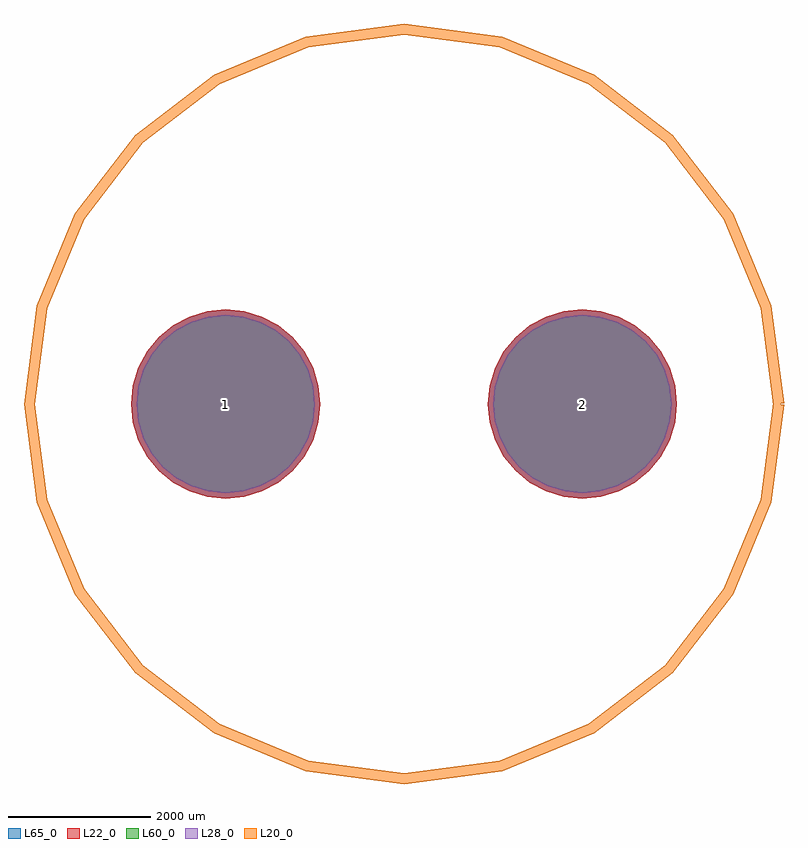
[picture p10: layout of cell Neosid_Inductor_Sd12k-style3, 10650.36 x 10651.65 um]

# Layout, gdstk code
import gdstk
lib = gdstk.Library(unit=1e-6, precision=1e-09)
def P(c, l, *ps):  # polygons
    for p in ps: c.add(gdstk.Polygon(p, *l))
L20_0 = (20, 0)
L22_0 = (22, 0)
L28_0 = (28, 0)
L60_0 = (60, 0)
L65_0 = (65, 0)

neosid_inductor_sd12k_st = lib.new_cell('Neosid_Inductor_Sd12k-style3')
P(neosid_inductor_sd12k_st, L22_0, [(-1174.68,0),(-1200.133,258.432),(-1275.515,506.933),(-1397.929,735.953),(-1562.67,936.69),(-1763.407,1101.431),(-1992.427,1223.845),(-2240.928,1299.227),(-2499.36,1324.68),(-2757.792,1299.227),(-3006.293,1223.845),(-3235.313,1101.431),(-3436.05,936.69),(-3600.791,735.953),(-3723.205,506.933),(-3798.587,258.432),(-3824.04,0),(-3798.587,-258.432),(-3723.205,-506.933),(-3600.791,-735.953),(-3436.05,-936.69),(-3235.313,-1101.431),(-3006.293,-1223.845),(-2757.792,-1299.227),(-2499.36,-1324.68),(-2240.928,-1299.227),(-1992.427,-1223.845),(-1763.407,-1101.431),(-1562.67,-936.69),(-1397.929,-735.953),(-1275.515,-506.933),(-1200.133,-258.432)],
  [(3824.04,0),(3798.587,258.432),(3723.205,506.933),(3600.791,735.953),(3436.05,936.69),(3235.313,1101.431),(3006.293,1223.845),(2757.792,1299.227),(2499.36,1324.68),(2240.928,1299.227),(1992.427,1223.845),(1763.407,1101.431),(1562.67,936.69),(1397.929,735.953),(1275.515,506.933),(1200.133,258.432),(1174.68,0),(1200.133,-258.432),(1275.515,-506.933),(1397.929,-735.953),(1562.67,-936.69),(1763.407,-1101.431),(1992.427,-1223.845),(2240.928,-1299.227),(2499.36,-1324.68),(2757.792,-1299.227),(3006.293,-1223.845),(3235.313,-1101.431),(3436.05,-936.69),(3600.791,-735.953),(3723.205,-506.933),(3798.587,-258.432)])
P(neosid_inductor_sd12k_st, L28_0, [(-1249.68,0),(-1273.692,243.8),(-1344.806,478.232),(-1460.289,694.285),(-1615.703,883.657),(-1805.075,1039.071),(-2021.128,1154.554),(-2255.56,1225.668),(-2499.36,1249.68),(-2743.16,1225.668),(-2977.592,1154.554),(-3193.645,1039.071),(-3383.017,883.657),(-3538.431,694.285),(-3653.914,478.232),(-3725.028,243.8),(-3749.04,0),(-3725.028,-243.8),(-3653.914,-478.232),(-3538.431,-694.285),(-3383.017,-883.657),(-3193.645,-1039.071),(-2977.592,-1154.554),(-2743.16,-1225.668),(-2499.36,-1249.68),(-2255.56,-1225.668),(-2021.128,-1154.554),(-1805.075,-1039.071),(-1615.703,-883.657),(-1460.289,-694.285),(-1344.806,-478.232),(-1273.692,-243.8)],
  [(3749.04,0),(3725.028,243.8),(3653.914,478.232),(3538.431,694.285),(3383.017,883.657),(3193.645,1039.071),(2977.592,1154.554),(2743.16,1225.668),(2499.36,1249.68),(2255.56,1225.668),(2021.128,1154.554),(1805.075,1039.071),(1615.703,883.657),(1460.289,694.285),(1344.806,478.232),(1273.692,243.8),(1249.68,0),(1273.692,-243.8),(1344.806,-478.232),(1460.289,-694.285),(1615.703,-883.657),(1805.075,-1039.071),(2021.128,-1154.554),(2255.56,-1225.668),(2499.36,-1249.68),(2743.16,-1225.668),(2977.592,-1154.554),(3193.645,-1039.071),(3383.017,-883.657),(3538.431,-694.285),(3653.914,-478.232),(3725.028,-243.8)])
P(neosid_inductor_sd12k_st, L60_0, [(-1249.68,0),(-1273.692,243.8),(-1344.806,478.232),(-1460.289,694.285),(-1615.703,883.657),(-1805.075,1039.071),(-2021.128,1154.554),(-2255.56,1225.668),(-2499.36,1249.68),(-2743.16,1225.668),(-2977.592,1154.554),(-3193.645,1039.071),(-3383.017,883.657),(-3538.431,694.285),(-3653.914,478.232),(-3725.028,243.8),(-3749.04,0),(-3725.028,-243.8),(-3653.914,-478.232),(-3538.431,-694.285),(-3383.017,-883.657),(-3193.645,-1039.071),(-2977.592,-1154.554),(-2743.16,-1225.668),(-2499.36,-1249.68),(-2255.56,-1225.668),(-2021.128,-1154.554),(-1805.075,-1039.071),(-1615.703,-883.657),(-1460.289,-694.285),(-1344.806,-478.232),(-1273.692,-243.8)],
  [(3749.04,0),(3725.028,243.8),(3653.914,478.232),(3538.431,694.285),(3383.017,883.657),(3193.645,1039.071),(2977.592,1154.554),(2743.16,1225.668),(2499.36,1249.68),(2255.56,1225.668),(2021.128,1154.554),(1805.075,1039.071),(1615.703,883.657),(1460.289,694.285),(1344.806,478.232),(1273.692,243.8),(1249.68,0),(1273.692,-243.8),(1344.806,-478.232),(1460.289,-694.285),(1615.703,-883.657),(1805.075,-1039.071),(2021.128,-1154.554),(2255.56,-1225.668),(2499.36,-1249.68),(2743.16,-1225.668),(2977.592,-1154.554),(3193.645,-1039.071),(3383.017,-883.657),(3538.431,-694.285),(3653.914,-478.232),(3725.028,-243.8)])
P(neosid_inductor_sd12k_st, L65_0, [(-1174.68,0),(-1200.133,258.432),(-1275.515,506.933),(-1397.929,735.953),(-1562.67,936.69),(-1763.407,1101.431),(-1992.427,1223.845),(-2240.928,1299.227),(-2499.36,1324.68),(-2757.792,1299.227),(-3006.293,1223.845),(-3235.313,1101.431),(-3436.05,936.69),(-3600.791,735.953),(-3723.205,506.933),(-3798.587,258.432),(-3824.04,0),(-3798.587,-258.432),(-3723.205,-506.933),(-3600.791,-735.953),(-3436.05,-936.69),(-3235.313,-1101.431),(-3006.293,-1223.845),(-2757.792,-1299.227),(-2499.36,-1324.68),(-2240.928,-1299.227),(-1992.427,-1223.845),(-1763.407,-1101.431),(-1562.67,-936.69),(-1397.929,-735.953),(-1275.515,-506.933),(-1200.133,-258.432)],
  [(3824.04,0),(3798.587,258.432),(3723.205,506.933),(3600.791,735.953),(3436.05,936.69),(3235.313,1101.431),(3006.293,1223.845),(2757.792,1299.227),(2499.36,1324.68),(2240.928,1299.227),(1992.427,1223.845),(1763.407,1101.431),(1562.67,936.69),(1397.929,735.953),(1275.515,506.933),(1200.133,258.432),(1174.68,0),(1200.133,-258.432),(1275.515,-506.933),(1397.929,-735.953),(1562.67,-936.69),(1763.407,-1101.431),(1992.427,-1223.845),(2240.928,-1299.227),(2499.36,-1324.68),(2757.792,-1299.227),(3006.293,-1223.845),(3235.313,-1101.431),(3436.05,-936.69),(3600.791,-735.953),(3723.205,-506.933),(3798.587,-258.432)])
neosid_inductor_sd12k_st.add(gdstk.FlexPath([(5250.18,0),(5071.284,1358.847),(4546.789,2625.09),(3712.438,3712.438),(2625.09,4546.789),(1358.847,5071.284),(0,5250.18),(-1358.847,5071.284),(-2625.09,4546.789),(-3712.438,3712.438),(-4546.789,2625.09),(-5071.284,1358.847),(-5250.18,0),(-5071.284,-1358.847),(-4546.789,-2625.09),(-3712.438,-3712.438),(-2625.09,-4546.789),(-1358.847,-5071.284),(0,-5250.18),(1358.847,-5071.284),(2625.09,-4546.789),(3712.438,-3712.438),(4546.789,-2625.09),(5071.284,-1358.847),(5250.18,0)], 149.998, ends="flush", simple_path=True, layer=20, datatype=0))  # L20_0
neosid_inductor_sd12k_st.add(gdstk.Label('1', (-2499.36,0), layer=28, texttype=0))
neosid_inductor_sd12k_st.add(gdstk.Label('2', (2499.36,0), layer=28, texttype=0))
neosid_inductor_sd12k_st.add(gdstk.Label('type', (500.38,-8498.84), layer=9, texttype=0))
neosid_inductor_sd12k_st.add(gdstk.Label('devicename', (0,7000.24), layer=9, texttype=0))

lib.write_gds('Neosid_Inductor_Sd12k-style3.gds')
